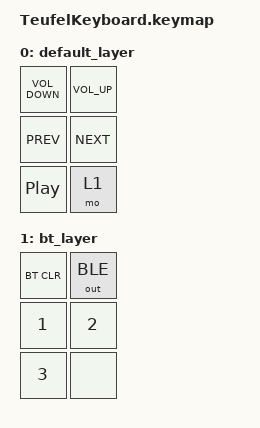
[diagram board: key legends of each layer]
#include <behaviors.dtsi>
#include <dt-bindings/zmk/keys.h>
#include <dt-bindings/zmk/bt.h>
#include <dt-bindings/zmk/outputs.h>

/ {
    keymap {
        compatible = "zmk,keymap";

        default_layer {
            bindings = <
                &kp C_VOLUME_DOWN &kp C_VOLUME_UP
                &kp C_PREV   &kp C_NEXT
                &kp C_PLAY_PAUSE &mo 1
            >;
        };

        bt_layer {
            bindings = <
                &bt BT_CLR &out OUT_BLE
                &kp N1 &kp N2
                &kp N3 &none
            >;
        };
    };
};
